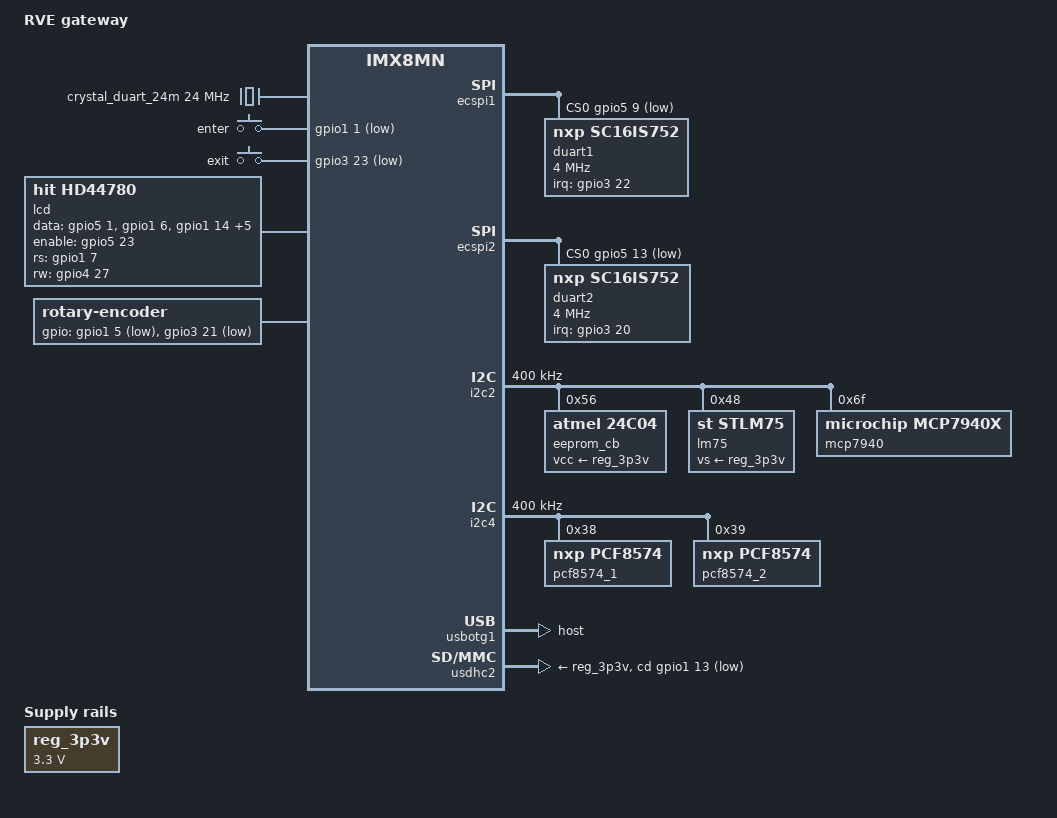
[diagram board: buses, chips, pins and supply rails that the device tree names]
// SPDX-License-Identifier: (GPL-2.0+ OR MIT)
/*
 * Copyright 2023 DimOnOff
 */

/dts-v1/;

#include <dt-bindings/usb/pd.h>
#include "imx8mn-var-som.dtsi"

/ {
	model = "RVE gateway";
	compatible = "rve,rve-gateway", "variscite,var-som-mx8mn", "fsl,imx8mn";

	crystal_duart_24m: crystal-duart-24m {
		compatible = "fixed-clock";
		#clock-cells = <0>;
		clock-frequency = <24000000>;
	};

	gpio-keys {
		compatible = "gpio-keys";
		pinctrl-names = "default";
		pinctrl-0 = <&pinctrl_gpio_keys>;

		key-enter {
			label = "enter";
			gpios = <&gpio1 1 GPIO_ACTIVE_LOW>;
			linux,code = <KEY_ENTER>;
		};

		key-exit {
			label = "exit";
			gpios = <&gpio3 23 GPIO_ACTIVE_LOW>;
			linux,code = <KEY_ESC>;
		};
	};

	lcd {
		compatible = "hit,hd44780";
		display-height-chars = <2>;
		display-width-chars = <20>;
		pinctrl-names = "default";
		pinctrl-0 = <&pinctrl_lcd>;
		data-gpios = <&gpio5  1 GPIO_ACTIVE_HIGH>,
			     <&gpio1  6 GPIO_ACTIVE_HIGH>,
			     <&gpio1 14 GPIO_ACTIVE_HIGH>,
			     <&gpio4 28 GPIO_ACTIVE_HIGH>,
			     <&gpio5 24 GPIO_ACTIVE_HIGH>,
			     <&gpio5  2 GPIO_ACTIVE_HIGH>,
			     <&gpio1 12 GPIO_ACTIVE_HIGH>,
			     <&gpio5 25 GPIO_ACTIVE_HIGH>;
		enable-gpios = <&gpio5 23 GPIO_ACTIVE_HIGH>;
		rs-gpios = <&gpio1 7 GPIO_ACTIVE_HIGH>;
		rw-gpios = <&gpio4 27 GPIO_ACTIVE_HIGH>;
	};

	reg_3p3v: regulator-3p3v {
		compatible = "regulator-fixed";
		regulator-name = "3P3V";
		regulator-min-microvolt = <3300000>;
		regulator-max-microvolt = <3300000>;
		regulator-always-on;
	};

	/* Bourns PEC12R rotary encoder, 24 steps. */
	rotary: rotary-encoder {
		compatible = "rotary-encoder";
		pinctrl-names = "default";
		pinctrl-0 = <&pinctrl_rotary>;
		gpios = <&gpio1  5 GPIO_ACTIVE_LOW>, /* A */
			<&gpio3 21 GPIO_ACTIVE_LOW>; /* B */
		linux,axis = <0>; /* REL_X */
		rotary-encoder,encoding = "gray";
		rotary-encoder,relative-axis;
	};
};

&ecspi1 {
	cs-gpios = <&gpio5 9 GPIO_ACTIVE_LOW>;

	duart1: serial@0 {
		compatible = "nxp,sc16is752";
		reg = <0>;
		spi-rx-bus-width = <1>;
		spi-tx-bus-width = <1>;
		spi-max-frequency = <4000000>;
		clocks = <&crystal_duart_24m>;
		interrupt-parent = <&gpio3>;
		interrupts = <22 IRQ_TYPE_EDGE_FALLING>;
		gpio-controller;
		#gpio-cells = <2>;
		gpio-line-names = "RADIO0", "RADIO1", "RADIO2", "RADIO3",
				  "RADIO4", "RADIO_RESET", "TP12", "TP11";
		linux,rs485-enabled-at-boot-time;
		rs485-rts-active-low;
	};

	/delete-node/ touchscreen@0;
};

&ecspi2 {
	pinctrl-names = "default";
	pinctrl-0 = <&pinctrl_ecspi2>;
	cs-gpios = <&gpio5 13 GPIO_ACTIVE_LOW>;
	/delete-property/ dmas;
	/delete-property/ dma-names;
	status = "okay";

	duart2: serial@0 {
		compatible = "nxp,sc16is752";
		reg = <0>;
		spi-rx-bus-width = <1>;
		spi-tx-bus-width = <1>;
		spi-max-frequency = <4000000>;
		clocks = <&crystal_duart_24m>;
		interrupt-parent = <&gpio3>;
		interrupts = <20 IRQ_TYPE_EDGE_FALLING>;
		gpio-controller;
		#gpio-cells = <2>;
		gpio-line-names = "LED_B_USER", "LED_R_USER", "LED_G_USER",
				  "GPIO_EXT3", "GPIO_EXT2", "GPIO_EXT1",
				  "GPIO_EXT0", "TP13";
		linux,rs485-enabled-at-boot-time;
		rs485-rts-active-low;
	};
};

/* Configure PWM pins in GPIO mode: */
&gpio5 {
	gpio-line-names = "", "", "", "PWM3", "PWM2", "PWM1";
};

&gpu {
	status = "disabled";
};

&i2c2 {
	clock-frequency = <400000>;
	pinctrl-names = "default";
	pinctrl-0 = <&pinctrl_i2c2>;
	status = "okay";

	/* Carrier board EEPROM */
	eeprom_cb: eeprom@56 {
		compatible = "atmel,24c04";
		reg = <0x56>;
		pagesize = <16>;
		vcc-supply = <&reg_3p3v>;
	};

	lm75: sensor@48 {
		compatible = "st,stlm75";
		reg = <0x48>;
		vs-supply = <&reg_3p3v>;
	};

	mcp7940: rtc@6f {
		compatible = "microchip,mcp7940x";
		reg = <0x6f>;
	};
};

&i2c3 {
	codec@1a {
		status = "disabled";
	};
};

&i2c4 {
	clock-frequency = <400000>;
	pinctrl-names = "default";
	pinctrl-0 = <&pinctrl_i2c4>;
	status = "okay";

	pcf8574_1: gpio@38 {
		compatible = "nxp,pcf8574";
		reg = <0x38>;
		gpio-controller;
		#gpio-cells = <2>;
		gpio-line-names = "LED_B_COMM3", "LED_R_COMM3", "LED_G_COMM3",
				  "TP14", "TP15", "LED_G_COMM4", "LED_R_COMM4",
				  "LED_B_COMM4";
	};

	pcf8574_2: gpio@39 {
		compatible = "nxp,pcf8574";
		reg = <0x39>;
		gpio-controller;
		#gpio-cells = <2>;
		gpio-line-names = "LED_B_COMM2", "LED_G_COMM2", "LED_B_COMM1",
				  "LED_R_COMM2", "LED_R_COMM1", "LED_G_COMM1",
				  "TP16", "TP17";
	};
};

/* Bluetooth */
&uart2 {
	status = "disabled";
};

&usbotg1 {
	dr_mode = "host";
	disable-over-current;
	status = "okay";
};

/* SD interface on expansion connector. */
&usdhc2 {
	vmmc-supply = <&reg_3p3v>;
	cd-gpios = <&gpio1 13 GPIO_ACTIVE_LOW>;
};

&iomuxc {
	pinctrl_ecspi1: ecspi1grp {
		fsl,pins = <
			MX8MN_IOMUXC_ECSPI1_SCLK_ECSPI1_SCLK	0x13
			MX8MN_IOMUXC_ECSPI1_MOSI_ECSPI1_MOSI	0x13
			MX8MN_IOMUXC_ECSPI1_MISO_ECSPI1_MISO	0x13
			MX8MN_IOMUXC_ECSPI1_SS0_GPIO5_IO9	0x13 /* SS0 */
			MX8MN_IOMUXC_SAI5_RXD1_GPIO3_IO22	0x13 /* SC16 IRQ */
		>;
	};

	pinctrl_ecspi2: ecspi2grp {
		fsl,pins = <
			MX8MN_IOMUXC_ECSPI2_SCLK_ECSPI2_SCLK	0x13
			MX8MN_IOMUXC_ECSPI2_MOSI_ECSPI2_MOSI	0x13
			MX8MN_IOMUXC_ECSPI2_MISO_ECSPI2_MISO	0x13
			MX8MN_IOMUXC_ECSPI2_SS0_GPIO5_IO13	0x13 /* SS0 */
			MX8MN_IOMUXC_SAI5_RXC_GPIO3_IO20	0x13 /* SC16 IRQ */
		>;
	};

	pinctrl_gpio_keys: gpiokeysgrp {
		fsl,pins = <
			MX8MN_IOMUXC_GPIO1_IO01_GPIO1_IO1	0xc6 /* Enter */
			MX8MN_IOMUXC_SAI5_RXD2_GPIO3_IO23	0xc6 /* Exit */
		>;
	};

	pinctrl_i2c2: i2c2grp {
		fsl,pins = <
			MX8MN_IOMUXC_I2C2_SCL_I2C2_SCL		0x400001c3
			MX8MN_IOMUXC_I2C2_SDA_I2C2_SDA		0x400001c3
		>;
	};

	pinctrl_i2c4: i2c4grp {
		fsl,pins = <
			MX8MN_IOMUXC_I2C4_SCL_I2C4_SCL		0x400001c3
			MX8MN_IOMUXC_I2C4_SDA_I2C4_SDA		0x400001c3
		>;
	};

	pinctrl_lcd: lcdgrp {
		fsl,pins = <
			MX8MN_IOMUXC_SAI3_TXD_GPIO5_IO1		0x00000156 /* D0 */
			MX8MN_IOMUXC_GPIO1_IO06_GPIO1_IO6	0x00000156 /* D1 */
			MX8MN_IOMUXC_GPIO1_IO14_GPIO1_IO14	0x00000156 /* D2 */
			MX8MN_IOMUXC_SAI3_RXFS_GPIO4_IO28	0x00000156 /* D3 */
			MX8MN_IOMUXC_UART2_RXD_GPIO5_IO24	0x00000156 /* D4 */
			MX8MN_IOMUXC_SAI3_MCLK_GPIO5_IO2	0x00000156 /* D5 */
			MX8MN_IOMUXC_GPIO1_IO12_GPIO1_IO12	0x00000156 /* D6 */
			MX8MN_IOMUXC_UART2_TXD_GPIO5_IO25	0x00000156 /* D7 */
			MX8MN_IOMUXC_UART1_TXD_GPIO5_IO23	0x00000156 /* E */
			MX8MN_IOMUXC_GPIO1_IO07_GPIO1_IO7	0x00000156 /* RS */
			MX8MN_IOMUXC_SAI2_MCLK_GPIO4_IO27	0x00000156 /* R/W */
		>;
	};

	pinctrl_rotary: rotarygrp {
		fsl,pins = <
			MX8MN_IOMUXC_GPIO1_IO05_GPIO1_IO5	0x00000156 /* A */
			MX8MN_IOMUXC_SAI5_RXD0_GPIO3_IO21	0x00000156 /* B */
		>;
	};

	/* Override Card Detect function GPIO value (GPIO1_IO10) from SOM: */
	pinctrl_usdhc2_gpio: usdhc2gpiogrp {
		fsl,pins = <
			MX8MN_IOMUXC_GPIO1_IO13_GPIO1_IO13	0x41
		>;
	};
};
